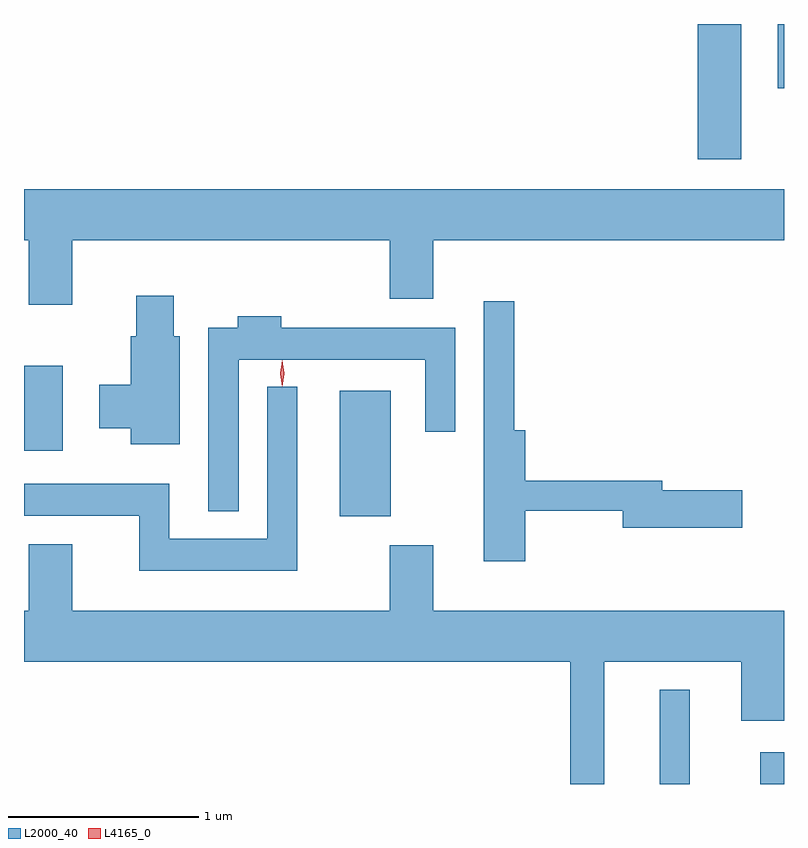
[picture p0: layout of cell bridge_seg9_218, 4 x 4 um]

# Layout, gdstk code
import gdstk
lib = gdstk.Library(unit=1e-6, precision=1e-09)
def R(c, l, rs):  # rectangles x0, y0, x1, y1
    for r in rs: c.add(gdstk.rectangle(r[:2], r[2:], *l))
def P(c, l, *ps):  # polygons
    for p in ps: c.add(gdstk.Polygon(p, *l))
L2000_40 = (2000, 40)
L4165_0 = (4165, 0)

bridge_seg9_218 = lib.new_cell('bridge_seg9_218')
R(bridge_seg9_218, L2000_40, [(1467.171,1988.953,1467.329,1989.448), (1467.701,1988.953,1467.825,1989.119), (1465.486,1990.361,1465.754,1991.024), (1463.825,1990.706,1464.029,1991.154), (1467.371,1992.241,1467.599,1992.953), (1467.791,1992.616,1467.825,1992.953)])
P(bridge_seg9_218, L2000_40, [(1464.079,1991.816),(1465.751,1991.816),(1465.751,1991.506),(1465.979,1991.506),(1465.979,1991.816),(1467.825,1991.816),(1467.825,1992.084),(1463.825,1992.084),(1463.825,1991.816),(1463.851,1991.816),(1463.851,1991.476),(1464.079,1991.476)],
  [(1464.644,1991.309),(1464.614,1991.309),(1464.614,1991.524),(1464.416,1991.524),(1464.416,1991.309),(1464.386,1991.309),(1464.386,1991.054),(1464.221,1991.054),(1464.221,1990.826),(1464.386,1990.826),(1464.386,1990.741),(1464.644,1990.741)],
  [(1466.464,1990.391),(1466.976,1990.391),(1466.976,1990.301),(1467.604,1990.301),(1467.604,1990.499),(1467.184,1990.499),(1467.184,1990.549),(1466.464,1990.549),(1466.464,1990.814),(1466.404,1990.814),(1466.404,1991.493),(1466.246,1991.493),(1466.246,1990.126),(1466.464,1990.126)],
  [(1464.954,1991.186),(1465.936,1991.186),(1465.936,1990.808),(1466.094,1990.808),(1466.094,1991.354),(1465.179,1991.354),(1465.179,1991.414),(1464.951,1991.414),(1464.951,1991.354),(1464.796,1991.354),(1464.796,1990.388),(1464.954,1990.388)],
  [(1465.264,1991.043),(1465.106,1991.043),(1465.106,1990.244),(1464.589,1990.244),(1464.589,1990.534),(1463.825,1990.534),(1463.825,1990.366),(1464.431,1990.366),(1464.431,1990.076),(1465.264,1990.076)],
  [(1466.879,1989.596),(1467.601,1989.596),(1467.601,1989.286),(1467.825,1989.286),(1467.825,1989.864),(1465.979,1989.864),(1465.979,1990.209),(1465.751,1990.209),(1465.751,1989.864),(1464.079,1989.864),(1464.079,1990.214),(1463.851,1990.214),(1463.851,1989.864),(1463.825,1989.864),(1463.825,1989.596),(1466.701,1989.596),(1466.701,1988.953),(1466.879,1988.953)])
P(bridge_seg9_218, L4165_0, [(1465.183,1991.044),(1465.174,1991.113),(1465.183,1991.182),(1465.184,1991.183),(1465.184,1991.182),(1465.194,1991.113),(1465.184,1991.044),(1465.184,1991.044)],
  [(1465.184,1991.047),(1465.183,1991.048),(1465.174,1991.114),(1465.183,1991.18),(1465.183,1991.18),(1465.184,1991.18),(1465.194,1991.114),(1465.184,1991.048)])

lib.write_gds('bridge_seg9_218.gds')
